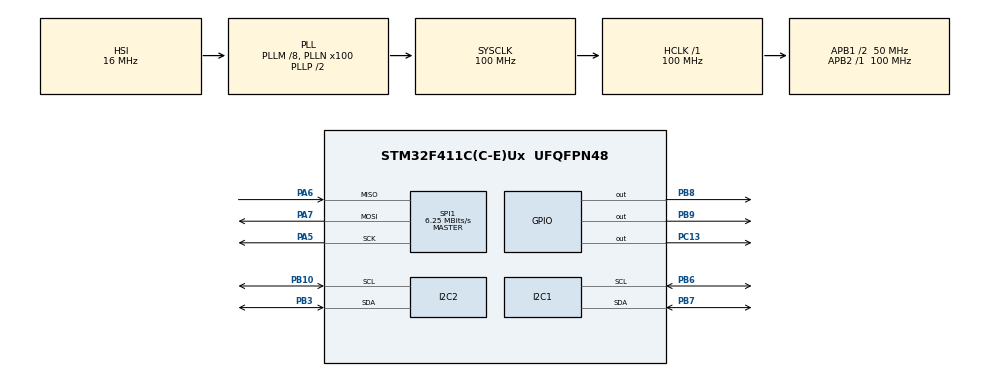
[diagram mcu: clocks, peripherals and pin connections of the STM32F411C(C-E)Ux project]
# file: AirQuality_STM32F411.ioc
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Dma.Request0=SPI1_RX
Dma.Request1=SPI1_TX
Dma.SPI1_RX.0.Direction=DMA_PERIPH_TO_MEMORY
Dma.SPI1_RX.0.FIFOMode=DMA_FIFOMODE_DISABLE
Dma.SPI1_RX.0.Instance=DMA2_Stream0
Dma.SPI1_RX.0.MemDataAlignment=DMA_MDATAALIGN_BYTE
Dma.SPI1_RX.0.MemInc=DMA_MINC_ENABLE
Dma.SPI1_RX.0.Mode=DMA_NORMAL
Dma.SPI1_RX.0.PeriphDataAlignment=DMA_PDATAALIGN_BYTE
Dma.SPI1_RX.0.PeriphInc=DMA_PINC_DISABLE
Dma.SPI1_RX.0.Priority=DMA_PRIORITY_HIGH
Dma.SPI1_TX.1.Direction=DMA_MEMORY_TO_PERIPH
Dma.SPI1_TX.1.FIFOMode=DMA_FIFOMODE_DISABLE
Dma.SPI1_TX.1.Instance=DMA2_Stream2
Dma.SPI1_TX.1.MemDataAlignment=DMA_MDATAALIGN_BYTE
Dma.SPI1_TX.1.MemInc=DMA_MINC_ENABLE
Dma.SPI1_TX.1.Mode=DMA_NORMAL
Dma.SPI1_TX.1.PeriphDataAlignment=DMA_PDATAALIGN_BYTE
Dma.SPI1_TX.1.PeriphInc=DMA_PINC_DISABLE
Dma.SPI1_TX.1.Priority=DMA_PRIORITY_HIGH
I2C1.I2C_Mode=I2C_Fast
I2C2.I2C_Mode=I2C_Standard
Mcu.Family=STM32F4
Mcu.Name=STM32F411C(C-E)Ux
Mcu.Package=UFQFPN48
NVIC.DMA2_Stream0_IRQn=true\:0\:0\:false\:false\:true\:false\:true\:true
NVIC.DMA2_Stream2_IRQn=true\:0\:0\:false\:false\:true\:false\:true\:true
NVIC.PriorityGroup=NVIC_PRIORITYGROUP_4
NVIC.SPI1_IRQn=true\:0\:0\:false\:false\:true\:true\:true\:true
PA5.Mode=Full_Duplex_Master
PA5.Signal=SPI1_SCK
PA6.Mode=Full_Duplex_Master
PA6.Signal=SPI1_MISO
PA7.Mode=Full_Duplex_Master
PA7.Signal=SPI1_MOSI
PB10.Mode=I2C
PB10.Signal=I2C2_SCL
PB3.Mode=I2C
PB3.Signal=I2C2_SDA
PB6.Mode=I2C
PB6.Signal=I2C1_SCL
PB7.Mode=I2C
PB7.Signal=I2C1_SDA
PB8.Signal=GPIO_Output
PB9.Signal=GPIO_Output
PC13-ANTI_TAMP.Signal=GPIO_Output
ProjectManager.HeapSize=0x200
ProjectManager.StackSize=0x400
ProjectManager.TargetToolchain=STM32CubeIDE
RCC.48MHZClocksFreq_Value=50000000
RCC.AHBFreq_Value=100000000
RCC.APB1CLKDivider=RCC_HCLK_DIV2
RCC.APB1Freq_Value=50000000
RCC.APB1TimFreq_Value=100000000
RCC.APB2Freq_Value=100000000
RCC.APB2TimFreq_Value=100000000
RCC.CortexFreq_Value=100000000
RCC.HCLKFreq_Value=100000000
RCC.HSE_VALUE=25000000
RCC.HSI_VALUE=16000000
RCC.LSE_VALUE=32768
RCC.PLLM=8
RCC.PLLN=100
RCC.SYSCLKFreq_VALUE=100000000
RCC.SYSCLKSource=RCC_SYSCLKSOURCE_PLLCLK
RCC.VCOOutputFreq_Value=200000000
SPI1.BaudRatePrescaler=SPI_BAUDRATEPRESCALER_16
SPI1.CalculateBaudRate=6.25 MBits/s
SPI1.DataSize=SPI_DATASIZE_8BIT
SPI1.Direction=SPI_DIRECTION_2LINES
SPI1.Mode=SPI_MODE_MASTER
SPI1.VirtualType=VM_MASTER
board=custom

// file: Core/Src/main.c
/* USER CODE BEGIN Header */
/**
  ******************************************************************************
  * @file           : main.c
  * @brief          : Main program body
  ******************************************************************************
  * @attention
  *
  * Copyright (c) 2024 STMicroelectronics.
  * All rights reserved.
  *
  * This software is licensed under terms that can be found in the LICENSE file
  * in the root directory of this software component.
  * If no LICENSE file comes with this software, it is provided AS-IS.
  *
  ******************************************************************************
  */
/* USER CODE END Header */
#include "main.h"

/* USER CODE BEGIN Includes */
#include <stdio.h>
#include <string.h>
#include "ssd1306.h"
#include "ssd1306_tests.h"
#include "pmsa003i.h"
#include "ens160.h"

/* USER CODE END Includes */

I2C_HandleTypeDef hi2c1;
I2C_HandleTypeDef hi2c2;

SPI_HandleTypeDef hspi1;
DMA_HandleTypeDef hdma_spi1_rx;
DMA_HandleTypeDef hdma_spi1_tx;

/* USER CODE BEGIN PV */
PMSA003I sensor_data;

uint8_t buffer_tx[4] = {1, 2, 3, 4};
uint8_t buffer_rx[4];
/* USER CODE END PV */

void SystemClock_Config(void);
static void MX_GPIO_Init(void);
static void MX_DMA_Init(void);
static void MX_I2C1_Init(void);
static void MX_SPI1_Init(void);
static void MX_I2C2_Init(void);
/* USER CODE BEGIN PFP */

void int_to_str(int num, char *str);
/* USER CODE END PFP */

int main(void)
{

  /* MCU Configuration--------------------------------------------------------*/

  /* Reset of all peripherals, Initializes the Flash interface and the Systick. */
  HAL_Init();

  /* Configure the system clock */
  SystemClock_Config();

  /* Initialize all configured peripherals */
  MX_GPIO_Init();
  MX_DMA_Init();
  MX_I2C1_Init();
  MX_SPI1_Init();
  MX_I2C2_Init();
  /* USER CODE BEGIN 2 */
  ssd1306_Init(); // Initialize SSD1306
  PMSA003I_Init(&hi2c2, &sensor_data);  // Initialize PMSA003i and its struct
  //HAL_GPIO_WritePin(GPIOB, GPIO_PIN_8, GPIO_PIN_SET); // Pulling SET High
  HAL_SPI_TransmitReceive_DMA(&hspi1, buffer_tx, buffer_rx, 4);
  char line1[16];
  char line2[16];
  char line3[16];
  char line4[16];
  char line5[16];
  /* USER CODE END 2 */

  /* Infinite loop */
  while (1)
  {
	  pmsa003i_ReadData(&sensor_data);
	  strcpy(line1, "OK ");
	  //strcpy(line2, sensor_data.particles_10um);
	  sprintf(line3, "%u", sensor_data.pm10_standard);
	  sprintf(line4, "%u", sensor_data.pm25_standard);
	  sprintf(line5, "%u", sensor_data.pm100_standard);

	  ssd1306_print(line1, line2, line3, line4, line5);
	  ssd1306_UpdateScreen();
	  //HAL_GPIO_WritePin(GPIOB, GPIO_PIN_9, GPIO_PIN_RESET); // Pulling RST Low
	  HAL_Delay(2000);
  }
}

void SystemClock_Config(void)
{
  RCC_OscInitTypeDef RCC_OscInitStruct = {0};
  RCC_ClkInitTypeDef RCC_ClkInitStruct = {0};

  /** Configure the main internal regulator output voltage
  */
  __HAL_RCC_PWR_CLK_ENABLE();
  __HAL_PWR_VOLTAGESCALING_CONFIG(PWR_REGULATOR_VOLTAGE_SCALE1);

  /** Initializes the RCC Oscillators according to the specified parameters
  * in the RCC_OscInitTypeDef structure.
  */
  RCC_OscInitStruct.OscillatorType = RCC_OSCILLATORTYPE_HSI;
  RCC_OscInitStruct.HSIState = RCC_HSI_ON;
  RCC_OscInitStruct.HSICalibrationValue = RCC_HSICALIBRATION_DEFAULT;
  RCC_OscInitStruct.PLL.PLLState = RCC_PLL_ON;
  RCC_OscInitStruct.PLL.PLLSource = RCC_PLLSOURCE_HSI;
  RCC_OscInitStruct.PLL.PLLM = 8;
  RCC_OscInitStruct.PLL.PLLN = 100;
  RCC_OscInitStruct.PLL.PLLP = RCC_PLLP_DIV2;
  RCC_OscInitStruct.PLL.PLLQ = 4;
  if (HAL_RCC_OscConfig(&RCC_OscInitStruct) != HAL_OK)
  {
    Error_Handler();
  }

  /** Initializes the CPU, AHB and APB buses clocks
  */
  RCC_ClkInitStruct.ClockType = RCC_CLOCKTYPE_HCLK|RCC_CLOCKTYPE_SYSCLK
                              |RCC_CLOCKTYPE_PCLK1|RCC_CLOCKTYPE_PCLK2;
  RCC_ClkInitStruct.SYSCLKSource = RCC_SYSCLKSOURCE_PLLCLK;
  RCC_ClkInitStruct.AHBCLKDivider = RCC_SYSCLK_DIV1;
  RCC_ClkInitStruct.APB1CLKDivider = RCC_HCLK_DIV2;
  RCC_ClkInitStruct.APB2CLKDivider = RCC_HCLK_DIV1;

  if (HAL_RCC_ClockConfig(&RCC_ClkInitStruct, FLASH_LATENCY_3) != HAL_OK)
  {
    Error_Handler();
  }
}

static void MX_I2C1_Init(void)
{

  hi2c1.Instance = I2C1;
  hi2c1.Init.ClockSpeed = 400000;
  hi2c1.Init.DutyCycle = I2C_DUTYCYCLE_2;
  hi2c1.Init.OwnAddress1 = 0;
  hi2c1.Init.AddressingMode = I2C_ADDRESSINGMODE_7BIT;
  hi2c1.Init.DualAddressMode = I2C_DUALADDRESS_DISABLE;
  hi2c1.Init.OwnAddress2 = 0;
  hi2c1.Init.GeneralCallMode = I2C_GENERALCALL_DISABLE;
  hi2c1.Init.NoStretchMode = I2C_NOSTRETCH_DISABLE;
  if (HAL_I2C_Init(&hi2c1) != HAL_OK)
  {
    Error_Handler();
  }

}

static void MX_I2C2_Init(void)
{

  hi2c2.Instance = I2C2;
  hi2c2.Init.ClockSpeed = 100000;
  hi2c2.Init.DutyCycle = I2C_DUTYCYCLE_2;
  hi2c2.Init.OwnAddress1 = 0;
  hi2c2.Init.AddressingMode = I2C_ADDRESSINGMODE_7BIT;
  hi2c2.Init.DualAddressMode = I2C_DUALADDRESS_DISABLE;
  hi2c2.Init.OwnAddress2 = 0;
  hi2c2.Init.GeneralCallMode = I2C_GENERALCALL_DISABLE;
  hi2c2.Init.NoStretchMode = I2C_NOSTRETCH_DISABLE;
  if (HAL_I2C_Init(&hi2c2) != HAL_OK)
  {
    Error_Handler();
  }

}

static void MX_SPI1_Init(void)
{

  /* SPI1 parameter configuration*/
  hspi1.Instance = SPI1;
  hspi1.Init.Mode = SPI_MODE_MASTER;
  hspi1.Init.Direction = SPI_DIRECTION_2LINES;
  hspi1.Init.DataSize = SPI_DATASIZE_8BIT;
  hspi1.Init.CLKPolarity = SPI_POLARITY_LOW;
  hspi1.Init.CLKPhase = SPI_PHASE_1EDGE;
  hspi1.Init.NSS = SPI_NSS_SOFT;
  hspi1.Init.BaudRatePrescaler = SPI_BAUDRATEPRESCALER_16;
  hspi1.Init.FirstBit = SPI_FIRSTBIT_MSB;
  hspi1.Init.TIMode = SPI_TIMODE_DISABLE;
  hspi1.Init.CRCCalculation = SPI_CRCCALCULATION_DISABLE;
  hspi1.Init.CRCPolynomial = 10;
  if (HAL_SPI_Init(&hspi1) != HAL_OK)
  {
    Error_Handler();
  }

}

static void MX_DMA_Init(void)
{

  /* DMA controller clock enable */
  __HAL_RCC_DMA2_CLK_ENABLE();

  /* DMA interrupt init */
  /* DMA2_Stream0_IRQn interrupt configuration */
  HAL_NVIC_SetPriority(DMA2_Stream0_IRQn, 0, 0);
  HAL_NVIC_EnableIRQ(DMA2_Stream0_IRQn);
  /* DMA2_Stream2_IRQn interrupt configuration */
  HAL_NVIC_SetPriority(DMA2_Stream2_IRQn, 0, 0);
  HAL_NVIC_EnableIRQ(DMA2_Stream2_IRQn);

}

static void MX_GPIO_Init(void)
{
  GPIO_InitTypeDef GPIO_InitStruct = {0};

  /* GPIO Ports Clock Enable */
  __HAL_RCC_GPIOC_CLK_ENABLE();
  __HAL_RCC_GPIOA_CLK_ENABLE();
  __HAL_RCC_GPIOB_CLK_ENABLE();

  /*Configure GPIO pin Output Level */
  HAL_GPIO_WritePin(GPIOC, GPIO_PIN_13, GPIO_PIN_RESET);

  /*Configure GPIO pin Output Level */
  HAL_GPIO_WritePin(GPIOB, GPIO_PIN_8|GPIO_PIN_9, GPIO_PIN_RESET);

  /*Configure GPIO pin : PC13 */
  GPIO_InitStruct.Pin = GPIO_PIN_13;
  GPIO_InitStruct.Mode = GPIO_MODE_OUTPUT_PP;
  GPIO_InitStruct.Pull = GPIO_NOPULL;
  GPIO_InitStruct.Speed = GPIO_SPEED_FREQ_LOW;
  HAL_GPIO_Init(GPIOC, &GPIO_InitStruct);

  /*Configure GPIO pins : PB8 PB9 */
  GPIO_InitStruct.Pin = GPIO_PIN_8|GPIO_PIN_9;
  GPIO_InitStruct.Mode = GPIO_MODE_OUTPUT_PP;
  GPIO_InitStruct.Pull = GPIO_NOPULL;
  GPIO_InitStruct.Speed = GPIO_SPEED_FREQ_LOW;
  HAL_GPIO_Init(GPIOB, &GPIO_InitStruct);

}

/* USER CODE BEGIN 4 */

void int_to_str(int num, char *str) {
    int i = 0;
    int isNegative = 0;

    // Handle negative numbers
    if (num < 0) {
        isNegative = 1;
        num = -num;
    }

    // Process digits in reverse order
    do {
        str[i++] = num % 10 + '0';
        num /= 10;
    } while (num > 0);

    // Add '-' sign if the number is negative
    if (isNegative) {
        str[i++] = '-';
    }

    // Reverse the string
    for (int j = 0; j < i / 2; j++) {
        char temp = str[j];
        str[j] = str[i - j - 1];
        str[i - j - 1] = temp;
    }

    // Null-terminate the string
    str[i] = '\0';
}
/* USER CODE END 4 */

void Error_Handler(void)
{
  __disable_irq();
  while (1)
  {
  }
}
